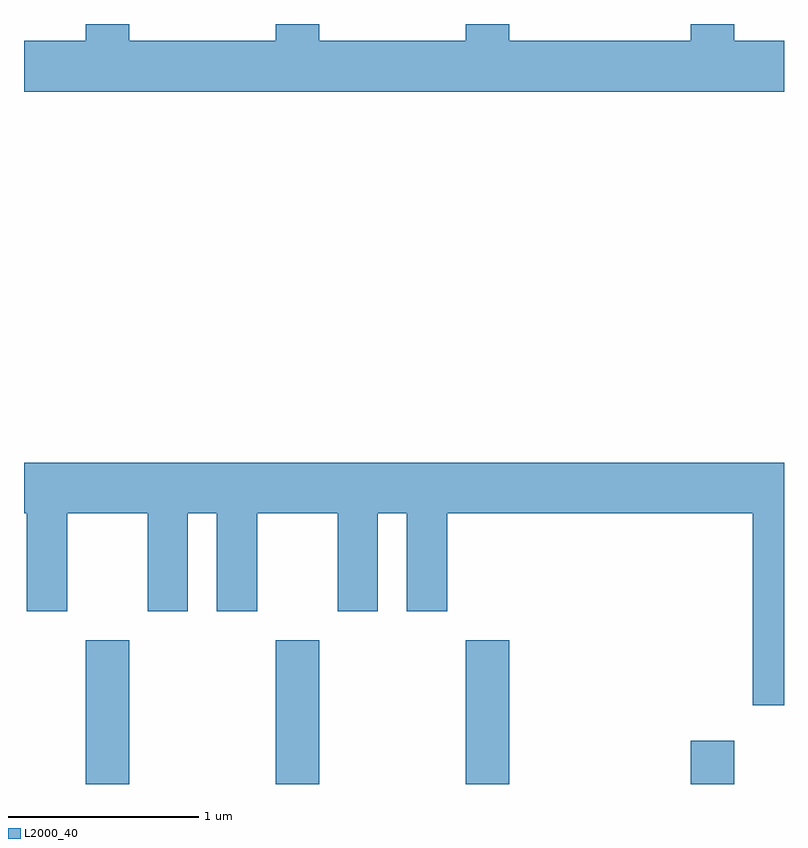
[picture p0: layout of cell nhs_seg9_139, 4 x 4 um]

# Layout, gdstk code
import gdstk
lib = gdstk.Library(unit=1e-6, precision=1e-09)
def R(c, l, rs):  # rectangles x0, y0, x1, y1
    for r in rs: c.add(gdstk.rectangle(r[:2], r[2:], *l))
def A(c, l, x, y, w, h, nx, ny, dx, dy):  # array of equal rectangles
    R(c, l, [(x+i*dx, y+j*dy, x+i*dx+w, y+j*dy+h) for i in range(nx) for j in range(ny)])
def P(c, l, *ps):  # polygons
    for p in ps: c.add(gdstk.Polygon(p, *l))
L2000_40 = (2000, 40)

nhs_seg9_139 = lib.new_cell('nhs_seg9_139')
A(nhs_seg9_139, L2000_40, 189.936, 1950.432, 0.228, 0.757, 3, 1, 1, 0)
R(nhs_seg9_139, L2000_40, [(193.121,1950.432,193.349,1950.659)])
P(nhs_seg9_139, L2000_40, [(193.611,1954.344),(193.349,1954.344),(193.349,1954.432),(193.121,1954.432),(193.121,1954.344),(192.164,1954.344),(192.164,1954.432),(191.936,1954.432),(191.936,1954.344),(191.164,1954.344),(191.164,1954.432),(190.936,1954.432),(190.936,1954.344),(190.164,1954.344),(190.164,1954.432),(189.936,1954.432),(189.936,1954.344),(189.611,1954.344),(189.611,1954.076),(193.611,1954.076)],
  [(193.611,1952.124),(189.611,1952.124),(189.611,1951.856),(189.626,1951.856),(189.626,1951.341),(189.839,1951.341),(189.839,1951.856),(190.261,1951.856),(190.261,1951.341),(190.474,1951.341),(190.474,1951.856),(190.626,1951.856),(190.626,1951.341),(190.839,1951.341),(190.839,1951.856),(191.261,1951.856),(191.261,1951.341),(191.474,1951.341),(191.474,1951.856),(191.626,1951.856),(191.626,1951.341),(191.839,1951.341),(191.839,1951.856),(193.446,1951.856),(193.446,1950.846),(193.611,1950.846)])

lib.write_gds('nhs_seg9_139.gds')
